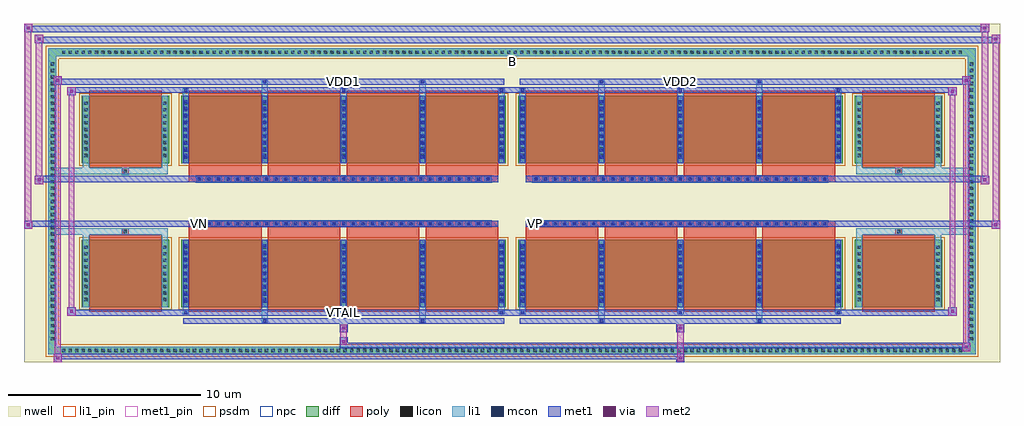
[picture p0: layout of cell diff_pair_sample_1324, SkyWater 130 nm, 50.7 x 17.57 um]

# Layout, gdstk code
import gdstk
lib = gdstk.Library(unit=1e-6, precision=5e-09)
def R(c, l, rs):  # rectangles x0, y0, x1, y1
    for r in rs: c.add(gdstk.rectangle(r[:2], r[2:], *l))
def A(c, l, x, y, w, h, nx, ny, dx, dy):  # array of equal rectangles
    R(c, l, [(x+i*dx, y+j*dy, x+i*dx+w, y+j*dy+h) for i in range(nx) for j in range(ny)])
def P(c, l, *ps):  # polygons
    for p in ps: c.add(gdstk.Polygon(p, *l))
nwell = (64, 20)
diff = (65, 20)
poly = (66, 20)
licon = (66, 44)
li1_pin = (67, 16)
li1 = (67, 20)
mcon = (67, 44)
met1_pin = (68, 16)
met1 = (68, 20)
via = (68, 44)
met2 = (69, 20)
psdm = (94, 20)
npc = (95, 20)

diff_pair_sample_1324 = lib.new_cell('diff_pair_sample_1324')
R(diff_pair_sample_1324, nwell, [(-25.35,-8.35,25.35,9.22), (-22.67,-6.54,-0.01,-0.8), (0.01,-6.54,22.67,-0.8), (-22.67,0.8,-0.01,6.54), (0.01,0.8,22.67,6.54)])
A(diff_pair_sample_1324, diff, -23.495, -7.95, 0.41, 0.41, 138, 2, 0.34, 15.49)
A(diff_pair_sample_1324, diff, -24.08, -7.345, 0.41, 0.41, 1, 43, 0, 0.34)
A(diff_pair_sample_1324, diff, 23.67, -7.345, 0.41, 0.41, 1, 43, 0, 0.34)
R(diff_pair_sample_1324, diff, [(-23.495,-7.95,23.495,-7.54), (-24.08,-7.345,-23.67,7.345), (23.67,-7.345,24.08,7.345), (-22.36,-5.495,-17.81,-1.985), (-17.17,-5.495,-0.32,-1.985), (0.32,-5.495,17.17,-1.985), (17.81,-5.495,22.36,-1.985), (-22.36,1.985,-17.81,5.495), (-17.17,1.985,-0.32,5.495), (0.32,1.985,17.17,5.495), (17.81,1.985,22.36,5.495), (-23.495,7.54,23.495,7.95)])
P(diff_pair_sample_1324, diff, [(24.08,7.95),(-24.08,7.95),(-24.08,-7.54),(-23.67,-7.54),(-23.67,7.54),(23.67,7.54),(23.67,-7.54),(-23.67,-7.54),(-24.08,-7.54),(-24.08,-7.95),(24.08,-7.95)])
A(diff_pair_sample_1324, poly, -16.78, -5.745, 3.77, 4.01, 4, 2, 4.1, 7.48)
A(diff_pair_sample_1324, poly, 0.71, -5.745, 3.77, 4.01, 4, 2, 4.1, 7.48)
A(diff_pair_sample_1324, poly, -16.78, -1.735, 3.77, 0.405, 4, 2, 4.1, 3.065)
A(diff_pair_sample_1324, poly, 0.71, -1.735, 3.77, 0.405, 4, 2, 4.1, 3.065)
A(diff_pair_sample_1324, poly, -16.41, -1.33, 0.33, 0.33, 31, 2, 0.5, 2.33)
A(diff_pair_sample_1324, poly, 1.08, -1.33, 0.33, 0.33, 31, 2, 0.5, 2.33)
R(diff_pair_sample_1324, poly, [(-21.97,-5.745,-18.2,-1.735), (18.2,-5.745,21.97,-1.735), (-20.25,-1.735,-19.92,-1.405), (-20.25,-1.735,-19.92,-1.405), (19.92,-1.735,20.25,-1.405), (19.92,-1.735,20.25,-1.405), (-16.78,-1.33,-0.71,-1), (0.71,-1.33,16.78,-1), (-16.78,1,-0.71,1.33), (0.71,1,16.78,1.33), (-20.25,1.405,-19.92,1.735), (-20.25,1.405,-19.92,1.735), (19.92,1.405,20.25,1.735), (19.92,1.405,20.25,1.735), (-21.97,1.735,-18.2,5.745), (18.2,1.735,21.97,5.745)])
A(diff_pair_sample_1324, licon, -23.375, -7.83, 0.17, 0.17, 138, 2, 0.34, 15.49)
A(diff_pair_sample_1324, licon, -23.96, -7.225, 0.17, 0.17, 1, 43, 0, 0.34)
A(diff_pair_sample_1324, licon, 23.79, -7.225, 0.17, 0.17, 1, 43, 0, 0.34)
A(diff_pair_sample_1324, licon, -22.22, -5.185, 0.17, 0.17, 1, 9, 0, 0.34)
A(diff_pair_sample_1324, licon, -18.12, -5.185, 0.17, 0.17, 1, 9, 0, 0.34)
A(diff_pair_sample_1324, licon, -17.03, -5.185, 0.17, 0.17, 5, 9, 4.1, 0.34)
A(diff_pair_sample_1324, licon, 0.46, -5.185, 0.17, 0.17, 5, 9, 4.1, 0.34)
A(diff_pair_sample_1324, licon, 17.95, -5.185, 0.17, 0.17, 1, 9, 0, 0.34)
A(diff_pair_sample_1324, licon, 22.05, -5.185, 0.17, 0.17, 1, 9, 0, 0.34)
A(diff_pair_sample_1324, licon, -16.33, -1.25, 0.17, 0.17, 31, 2, 0.5, 2.33)
A(diff_pair_sample_1324, licon, 1.16, -1.25, 0.17, 0.17, 31, 2, 0.5, 2.33)
A(diff_pair_sample_1324, licon, -22.22, 2.295, 0.17, 0.17, 1, 9, 0, 0.34)
A(diff_pair_sample_1324, licon, -18.12, 2.295, 0.17, 0.17, 1, 9, 0, 0.34)
A(diff_pair_sample_1324, licon, -17.03, 2.295, 0.17, 0.17, 5, 9, 4.1, 0.34)
A(diff_pair_sample_1324, licon, 0.46, 2.295, 0.17, 0.17, 5, 9, 4.1, 0.34)
A(diff_pair_sample_1324, licon, 17.95, 2.295, 0.17, 0.17, 1, 9, 0, 0.34)
A(diff_pair_sample_1324, licon, 22.05, 2.295, 0.17, 0.17, 1, 9, 0, 0.34)
R(diff_pair_sample_1324, licon, [(-20.17,-1.655,-20,-1.485), (20,-1.655,20.17,-1.485), (-20.17,1.485,-20,1.655), (20,1.485,20.17,1.655)])
R(diff_pair_sample_1324, li1_pin, [(-0.25,7.04,0.25,7.54)])
A(diff_pair_sample_1324, li1, -23.455, -7.91, 0.33, 0.33, 138, 2, 0.34, 15.49)
A(diff_pair_sample_1324, li1, -24.04, -7.305, 0.33, 0.33, 1, 43, 0, 0.34)
A(diff_pair_sample_1324, li1, 23.71, -7.305, 0.33, 0.33, 1, 43, 0, 0.34)
A(diff_pair_sample_1324, li1, -17.11, -5.87, 0.33, 0.375, 3, 2, 8.2, 11.365)
A(diff_pair_sample_1324, li1, -17.03, -5.87, 0.17, 0.17, 3, 2, 8.2, 11.57)
A(diff_pair_sample_1324, li1, 0.38, -5.87, 0.33, 0.375, 3, 2, 8.2, 11.365)
A(diff_pair_sample_1324, li1, 0.46, -5.87, 0.17, 0.17, 3, 2, 8.2, 11.57)
A(diff_pair_sample_1324, li1, -17.11, -5.495, 0.33, 3.51, 5, 2, 4.1, 7.48)
A(diff_pair_sample_1324, li1, 0.38, -5.495, 0.33, 3.51, 5, 2, 4.1, 7.48)
A(diff_pair_sample_1324, li1, -22.3, -5.265, 0.33, 0.33, 1, 9, 0, 0.34)
A(diff_pair_sample_1324, li1, -18.2, -5.265, 0.33, 0.33, 1, 9, 0, 0.34)
A(diff_pair_sample_1324, li1, -17.11, -5.265, 0.33, 0.33, 5, 9, 4.1, 0.34)
A(diff_pair_sample_1324, li1, -17.03, -5.265, 0.17, 0.17, 5, 9, 4.1, 0.36)
A(diff_pair_sample_1324, li1, -17.03, -5.265, 0.17, 3.05, 5, 2, 4.1, 7.48)
A(diff_pair_sample_1324, li1, 0.38, -5.265, 0.33, 0.33, 5, 9, 4.1, 0.34)
A(diff_pair_sample_1324, li1, 0.46, -5.265, 0.17, 0.17, 5, 9, 4.1, 0.36)
A(diff_pair_sample_1324, li1, 0.46, -5.265, 0.17, 3.05, 5, 2, 4.1, 7.48)
A(diff_pair_sample_1324, li1, 17.87, -5.265, 0.33, 0.33, 1, 9, 0, 0.34)
A(diff_pair_sample_1324, li1, 21.97, -5.265, 0.33, 0.33, 1, 9, 0, 0.34)
A(diff_pair_sample_1324, li1, -16.41, -1.33, 0.33, 0.33, 31, 2, 0.5, 2.33)
A(diff_pair_sample_1324, li1, 1.08, -1.33, 0.33, 0.33, 31, 2, 0.5, 2.33)
A(diff_pair_sample_1324, li1, -22.3, 2.215, 0.33, 0.33, 1, 9, 0, 0.34)
A(diff_pair_sample_1324, li1, -18.2, 2.215, 0.33, 0.33, 1, 9, 0, 0.34)
A(diff_pair_sample_1324, li1, -17.11, 2.215, 0.33, 0.33, 5, 9, 4.1, 0.34)
A(diff_pair_sample_1324, li1, -17.03, 2.215, 0.17, 0.17, 5, 9, 4.1, 0.36)
A(diff_pair_sample_1324, li1, 0.38, 2.215, 0.33, 0.33, 5, 9, 4.1, 0.34)
A(diff_pair_sample_1324, li1, 0.46, 2.215, 0.17, 0.17, 5, 9, 4.1, 0.36)
A(diff_pair_sample_1324, li1, 17.87, 2.215, 0.33, 0.33, 1, 9, 0, 0.34)
A(diff_pair_sample_1324, li1, 21.97, 2.215, 0.33, 0.33, 1, 9, 0, 0.34)
R(diff_pair_sample_1324, li1, [(-24.08,-7.95,-23.67,-7.54), (-24.08,-7.95,-23.67,-7.54), (-23.67,-7.95,23.67,-7.54), (23.67,-7.95,24.08,-7.54), (23.67,-7.95,24.08,-7.54), (-24.08,-7.54,-23.67,7.54), (23.67,-7.54,24.08,7.54), (-13.01,-6.3,-12.68,-5.495), (-12.93,-6.3,-12.76,-6.13), (-4.81,-6.3,-4.48,-5.495), (-4.73,-6.3,-4.56,-6.13), (4.48,-6.3,4.81,-5.495), (4.56,-6.3,4.73,-6.13), (12.68,-6.3,13.01,-5.495), (12.76,-6.3,12.93,-6.13), (-22.3,-5.495,-21.97,-1.985), (-18.2,-5.495,-17.87,-1.985), (17.87,-5.495,18.2,-1.985), (21.97,-5.495,22.3,-1.985), (-22.3,-1.985,-21.97,-1.405), (-18.2,-1.985,-17.87,-1.405), (17.87,-1.985,18.2,-1.405), (21.97,-1.985,22.3,-1.405), (-24.08,-1.735,-20.25,-1.405), (-22.3,-1.735,-20.25,-1.405), (-20.25,-1.735,-19.92,-1.405), (-19.92,-1.735,-17.87,-1.405), (17.87,-1.735,19.92,-1.405), (19.92,-1.735,20.25,-1.405), (19.92,-1.735,24.08,-1.405), (20.25,-1.735,22.3,-1.405), (-24.08,1.405,-20.25,1.735), (-22.3,1.405,-20.25,1.735), (-22.3,1.405,-21.97,1.985), (-20.25,1.405,-19.92,1.735), (-19.92,1.405,-17.87,1.735), (-18.2,1.405,-17.87,1.985), (17.87,1.405,19.92,1.735), (17.87,1.405,18.2,1.985), (19.92,1.405,20.25,1.735), (19.92,1.405,24.08,1.735), (20.25,1.405,22.3,1.735), (21.97,1.405,22.3,1.985), (-22.3,1.985,-21.97,5.495), (-18.2,1.985,-17.87,5.495), (17.87,1.985,18.2,5.495), (21.97,1.985,22.3,5.495), (-13.01,5.495,-12.68,6.3), (-4.81,5.495,-4.48,6.3), (4.48,5.495,4.81,6.3), (12.68,5.495,13.01,6.3), (-12.93,6.13,-12.76,6.3), (-4.73,6.13,-4.56,6.3), (4.56,6.13,4.73,6.3), (12.76,6.13,12.93,6.3), (-24.08,7.54,-23.67,7.95), (-24.08,7.54,-23.67,7.95), (-23.67,7.54,23.67,7.95), (23.67,7.54,24.08,7.95), (23.67,7.54,24.08,7.95)])
A(diff_pair_sample_1324, mcon, -17.03, -5.87, 0.17, 0.17, 3, 2, 8.2, 11.57)
A(diff_pair_sample_1324, mcon, 0.46, -5.87, 0.17, 0.17, 3, 2, 8.2, 11.57)
A(diff_pair_sample_1324, mcon, -17.03, -5.265, 0.17, 0.17, 5, 9, 4.1, 0.36)
A(diff_pair_sample_1324, mcon, 0.46, -5.265, 0.17, 0.17, 5, 9, 4.1, 0.36)
A(diff_pair_sample_1324, mcon, -16.33, -1.25, 0.17, 0.17, 31, 2, 0.5, 2.33)
A(diff_pair_sample_1324, mcon, 1.16, -1.25, 0.17, 0.17, 31, 2, 0.5, 2.33)
A(diff_pair_sample_1324, mcon, -17.03, 2.215, 0.17, 0.17, 5, 9, 4.1, 0.36)
A(diff_pair_sample_1324, mcon, 0.46, 2.215, 0.17, 0.17, 5, 9, 4.1, 0.36)
R(diff_pair_sample_1324, mcon, [(-12.93,-6.3,-12.76,-6.13), (-4.73,-6.3,-4.56,-6.13), (4.56,-6.3,4.73,-6.13), (12.76,-6.3,12.93,-6.13), (-12.93,6.13,-12.76,6.3), (-4.73,6.13,-4.56,6.3), (4.56,6.13,4.73,6.3), (12.76,6.13,12.93,6.3)])
R(diff_pair_sample_1324, met1_pin, [(-8.88,-5.91,-8.61,-5.64), (-16.38,-1.29,-16.11,-1.02), (1.11,-1.29,1.38,-1.02), (-8.88,6.09,-8.61,6.36), (8.61,6.09,8.88,6.36)])
A(diff_pair_sample_1324, met1, -17.09, -5.93, 0.29, 0.29, 3, 2, 8.2, 11.57)
A(diff_pair_sample_1324, met1, 0.4, -5.93, 0.29, 0.29, 3, 2, 8.2, 11.57)
A(diff_pair_sample_1324, met1, -17.09, -5.495, 0.29, 3.51, 5, 2, 4.1, 7.48)
A(diff_pair_sample_1324, met1, 0.4, -5.495, 0.29, 3.51, 5, 2, 4.1, 7.48)
A(diff_pair_sample_1324, met1, -17.09, -5.325, 0.29, 0.29, 5, 9, 4.1, 0.36)
A(diff_pair_sample_1324, met1, 0.4, -5.325, 0.29, 0.29, 5, 9, 4.1, 0.36)
A(diff_pair_sample_1324, met1, -16.39, -1.31, 0.29, 0.29, 31, 2, 0.5, 2.33)
A(diff_pair_sample_1324, met1, 1.1, -1.31, 0.29, 0.29, 31, 2, 0.5, 2.33)
A(diff_pair_sample_1324, met1, -17.09, 2.155, 0.29, 0.29, 5, 9, 4.1, 0.36)
A(diff_pair_sample_1324, met1, 0.4, 2.155, 0.29, 0.29, 5, 9, 4.1, 0.36)
R(diff_pair_sample_1324, met1, [(-23.81,-8.35,-23.38,-7.92), (8.53,-8.35,8.96,-7.92), (-23.81,-8.21,8.96,-7.92), (23.38,-7.78,23.81,-7.35), (-8.96,-7.64,23.81,-7.35), (-8.96,-7.5,-8.53,-7.07), (-8.96,-6.79,-8.53,-6.36), (8.53,-6.79,8.96,-6.36), (-17.09,-6.36,-0.4,-6.07), (-12.99,-6.36,-12.7,-6.07), (-4.79,-6.36,-4.5,-6.07), (0.4,-6.36,17.09,-6.07), (4.5,-6.36,4.79,-6.07), (12.7,-6.36,12.99,-6.07), (-23.1,-5.93,-22.67,-5.5), (-23.1,-5.93,-17.09,-5.64), (-17.09,-5.93,-0.4,-5.64), (-0.4,-5.93,0.4,-5.64), (0.4,-5.93,17.09,-5.64), (17.09,-5.93,23.1,-5.64), (22.67,-5.93,23.1,-5.5), (-25.35,-1.43,-24.92,-1), (24.92,-1.43,25.35,-1), (-25.35,-1.33,-0.71,-1), (-16.78,-1.33,-0.71,-1), (0.71,-1.33,16.78,-1), (0.71,-1.33,25.35,-1), (-24.78,0.9,-24.35,1.33), (24.35,0.9,24.78,1.33), (-24.78,1,-16.78,1.33), (-16.78,1,-0.71,1.33), (0.71,1,16.78,1.33), (16.78,1,24.78,1.33), (-23.1,5.5,-22.67,5.93), (22.67,5.5,23.1,5.93), (-23.1,5.64,-17.09,5.93), (-17.09,5.64,-0.4,5.93), (-0.4,5.64,0.4,5.93), (0.4,5.64,17.09,5.93), (17.09,5.64,23.1,5.93), (-23.81,6.07,-23.38,6.5), (-23.81,6.07,-17.09,6.36), (-17.09,6.07,-0.4,6.36), (-12.99,6.07,-12.7,6.36), (-4.79,6.07,-4.5,6.36), (0.4,6.07,17.09,6.36), (4.5,6.07,4.79,6.36), (12.7,6.07,12.99,6.36), (17.09,6.07,23.81,6.36), (23.38,6.07,23.81,6.5), (-24.78,8.22,-24.35,8.65), (-24.78,8.22,-22.67,8.55), (-22.67,8.22,22.67,8.55), (22.67,8.22,25.35,8.55), (24.92,8.22,25.35,8.65), (-25.35,8.79,-24.92,9.22), (-25.35,8.79,-22.67,9.12), (-22.67,8.79,22.67,9.12), (22.67,8.79,24.78,9.12), (24.35,8.79,24.78,9.22)])
R(diff_pair_sample_1324, via, [(-23.67,-8.21,-23.52,-8.06), (8.67,-8.21,8.82,-8.06), (23.52,-7.64,23.67,-7.49), (-8.82,-7.36,-8.67,-7.21), (-8.82,-6.65,-8.67,-6.5), (8.67,-6.65,8.82,-6.5), (-22.96,-5.79,-22.81,-5.64), (22.81,-5.79,22.96,-5.64), (-25.21,-1.29,-25.06,-1.14), (25.06,-1.29,25.21,-1.14), (-24.64,1.04,-24.49,1.19), (24.49,1.04,24.64,1.19), (-22.96,5.64,-22.81,5.79), (22.81,5.64,22.96,5.79), (-23.67,6.21,-23.52,6.36), (23.52,6.21,23.67,6.36), (-24.64,8.36,-24.49,8.51), (25.06,8.36,25.21,8.51), (-25.21,8.93,-25.06,9.08), (24.49,8.93,24.64,9.08)])
R(diff_pair_sample_1324, met2, [(-23.81,-8.35,-23.38,-7.92), (-23.74,-8.35,-23.45,6.5), (-23.45,-8.35,-23.38,-7.92), (-23.76,-8.3,-23.43,-7.97), (8.58,-8.3,8.91,-7.97), (8.58,-7.97,8.91,-6.74), (23.38,-7.78,23.81,-7.35), (23.45,-7.78,23.74,6.5), (23.74,-7.78,23.81,-7.35), (23.43,-7.73,23.76,-7.4), (-8.91,-7.45,-8.58,-7.12), (-8.91,-7.12,-8.58,-6.74), (-8.91,-6.74,-8.58,-6.41), (8.58,-6.74,8.91,-6.41), (-23.1,-5.93,-22.67,-5.5), (-23.03,-5.93,-22.74,5.93), (-22.74,-5.93,-22.67,-5.5), (22.67,-5.93,23.1,-5.5), (22.74,-5.93,23.03,5.93), (23.03,-5.93,23.1,-5.5), (-23.05,-5.88,-22.72,-5.55), (22.72,-5.88,23.05,-5.55), (-25.35,-1.43,-24.92,-1), (-25.3,-1.43,-24.97,9.22), (-24.97,-1.43,-24.92,-1), (24.92,-1.43,25.35,-1), (24.97,-1.43,25.3,8.65), (25.3,-1.43,25.35,-1), (-25.3,-1.38,-24.97,-1.05), (24.97,-1.38,25.3,-1.05), (-24.78,0.9,-24.35,1.33), (-24.73,0.9,-24.4,8.65), (-24.4,0.9,-24.35,1.33), (24.35,0.9,24.78,1.33), (24.4,0.9,24.73,9.22), (24.73,0.9,24.78,1.33), (-24.73,0.95,-24.4,1.28), (24.4,0.95,24.73,1.28), (-23.1,5.5,-22.67,5.93), (-22.74,5.5,-22.67,5.93), (22.67,5.5,23.1,5.93), (23.03,5.5,23.1,5.93), (-23.05,5.55,-22.72,5.88), (22.72,5.55,23.05,5.88), (-23.81,6.07,-23.38,6.5), (-23.45,6.07,-23.38,6.5), (23.38,6.07,23.81,6.5), (23.74,6.07,23.81,6.5), (-23.76,6.12,-23.43,6.45), (23.43,6.12,23.76,6.45), (-24.78,8.22,-24.35,8.65), (-24.4,8.22,-24.35,8.65), (24.92,8.22,25.35,8.65), (25.3,8.22,25.35,8.65), (-24.73,8.27,-24.4,8.6), (24.97,8.27,25.3,8.6), (-25.35,8.79,-24.92,9.22), (-24.97,8.79,-24.92,9.22), (24.35,8.79,24.78,9.22), (24.73,8.79,24.78,9.22), (-25.3,8.84,-24.97,9.17), (24.4,8.84,24.73,9.17)])
R(diff_pair_sample_1324, psdm, [(-22.49,-5.625,-17.68,-1.855), (-17.3,-5.625,-0.19,-1.855), (0.19,-5.625,17.3,-1.855), (17.68,-5.625,22.49,-1.855), (-22.49,1.855,-17.68,5.625), (-17.3,1.855,-0.19,5.625), (0.19,1.855,17.3,5.625), (17.68,1.855,22.49,5.625)])
P(diff_pair_sample_1324, psdm, [(24.21,8.08),(-24.21,8.08),(-24.21,-7.41),(-23.54,-7.41),(-23.54,7.41),(23.54,7.41),(23.54,-7.41),(-23.54,-7.41),(-24.21,-7.41),(-24.21,-8.08),(24.21,-8.08)])
A(diff_pair_sample_1324, npc, -16.43, -1.35, 0.37, 0.37, 31, 2, 0.5, 2.33)
A(diff_pair_sample_1324, npc, 1.06, -1.35, 0.37, 0.37, 31, 2, 0.5, 2.33)
R(diff_pair_sample_1324, npc, [(-20.27,-1.755,-19.9,-1.385), (19.9,-1.755,20.27,-1.385), (-16.43,-1.35,-15.56,-0.98), (-16.43,-1.35,-15.56,-0.98), (-15.93,-1.35,-15.06,-0.98), (-15.93,-1.35,-15.06,-0.98), (-15.43,-1.35,-14.56,-0.98), (-15.43,-1.35,-14.56,-0.98), (-14.93,-1.35,-14.06,-0.98), (-14.93,-1.35,-14.06,-0.98), (-14.43,-1.35,-13.56,-0.98), (-14.43,-1.35,-13.56,-0.98), (-13.93,-1.35,-13.06,-0.98), (-13.93,-1.35,-13.06,-0.98), (-13.43,-1.35,-12.56,-0.98), (-13.43,-1.35,-12.56,-0.98), (-12.93,-1.35,-12.06,-0.98), (-12.93,-1.35,-12.06,-0.98), (-12.43,-1.35,-11.56,-0.98), (-12.43,-1.35,-11.56,-0.98), (-11.93,-1.35,-11.06,-0.98), (-11.93,-1.35,-11.06,-0.98), (-11.43,-1.35,-10.56,-0.98), (-11.43,-1.35,-10.56,-0.98), (-10.93,-1.35,-10.06,-0.98), (-10.93,-1.35,-10.06,-0.98), (-10.43,-1.35,-9.56,-0.98), (-10.43,-1.35,-9.56,-0.98), (-9.93,-1.35,-9.06,-0.98), (-9.93,-1.35,-9.06,-0.98), (-9.43,-1.35,-8.56,-0.98), (-9.43,-1.35,-8.56,-0.98), (-8.93,-1.35,-8.06,-0.98), (-8.93,-1.35,-8.06,-0.98), (-8.43,-1.35,-7.56,-0.98), (-8.43,-1.35,-7.56,-0.98), (-7.93,-1.35,-7.06,-0.98), (-7.93,-1.35,-7.06,-0.98), (-7.43,-1.35,-6.56,-0.98), (-7.43,-1.35,-6.56,-0.98), (-6.93,-1.35,-6.06,-0.98), (-6.93,-1.35,-6.06,-0.98), (-6.43,-1.35,-5.56,-0.98), (-6.43,-1.35,-5.56,-0.98), (-5.93,-1.35,-5.06,-0.98), (-5.93,-1.35,-5.06,-0.98), (-5.43,-1.35,-4.56,-0.98), (-5.43,-1.35,-4.56,-0.98), (-4.93,-1.35,-4.06,-0.98), (-4.93,-1.35,-4.06,-0.98), (-4.43,-1.35,-3.56,-0.98), (-4.43,-1.35,-3.56,-0.98), (-3.93,-1.35,-3.06,-0.98), (-3.93,-1.35,-3.06,-0.98), (-3.43,-1.35,-2.56,-0.98), (-3.43,-1.35,-2.56,-0.98), (-2.93,-1.35,-2.06,-0.98), (-2.93,-1.35,-2.06,-0.98), (-2.43,-1.35,-1.56,-0.98), (-2.43,-1.35,-1.56,-0.98), (-1.93,-1.35,-1.06,-0.98), (-1.93,-1.35,-1.06,-0.98), (1.06,-1.35,1.93,-0.98), (1.06,-1.35,1.93,-0.98), (1.56,-1.35,2.43,-0.98), (1.56,-1.35,2.43,-0.98), (2.06,-1.35,2.93,-0.98), (2.06,-1.35,2.93,-0.98), (2.56,-1.35,3.43,-0.98), (2.56,-1.35,3.43,-0.98), (3.06,-1.35,3.93,-0.98), (3.06,-1.35,3.93,-0.98), (3.56,-1.35,4.43,-0.98), (3.56,-1.35,4.43,-0.98), (4.06,-1.35,4.93,-0.98), (4.06,-1.35,4.93,-0.98), (4.56,-1.35,5.43,-0.98), (4.56,-1.35,5.43,-0.98), (5.06,-1.35,5.93,-0.98), (5.06,-1.35,5.93,-0.98), (5.56,-1.35,6.43,-0.98), (5.56,-1.35,6.43,-0.98), (6.06,-1.35,6.93,-0.98), (6.06,-1.35,6.93,-0.98), (6.56,-1.35,7.43,-0.98), (6.56,-1.35,7.43,-0.98), (7.06,-1.35,7.93,-0.98), (7.06,-1.35,7.93,-0.98), (7.56,-1.35,8.43,-0.98), (7.56,-1.35,8.43,-0.98), (8.06,-1.35,8.93,-0.98), (8.06,-1.35,8.93,-0.98), (8.56,-1.35,9.43,-0.98), (8.56,-1.35,9.43,-0.98), (9.06,-1.35,9.93,-0.98), (9.06,-1.35,9.93,-0.98), (9.56,-1.35,10.43,-0.98), (9.56,-1.35,10.43,-0.98), (10.06,-1.35,10.93,-0.98), (10.06,-1.35,10.93,-0.98), (10.56,-1.35,11.43,-0.98), (10.56,-1.35,11.43,-0.98), (11.06,-1.35,11.93,-0.98), (11.06,-1.35,11.93,-0.98), (11.56,-1.35,12.43,-0.98), (11.56,-1.35,12.43,-0.98), (12.06,-1.35,12.93,-0.98), (12.06,-1.35,12.93,-0.98), (12.56,-1.35,13.43,-0.98), (12.56,-1.35,13.43,-0.98), (13.06,-1.35,13.93,-0.98), (13.06,-1.35,13.93,-0.98), (13.56,-1.35,14.43,-0.98), (13.56,-1.35,14.43,-0.98), (14.06,-1.35,14.93,-0.98), (14.06,-1.35,14.93,-0.98), (14.56,-1.35,15.43,-0.98), (14.56,-1.35,15.43,-0.98), (15.06,-1.35,15.93,-0.98), (15.06,-1.35,15.93,-0.98), (15.56,-1.35,16.43,-0.98), (15.56,-1.35,16.43,-0.98), (-16.43,0.98,-15.56,1.35), (-16.43,0.98,-15.56,1.35), (-15.93,0.98,-15.06,1.35), (-15.93,0.98,-15.06,1.35), (-15.43,0.98,-14.56,1.35), (-15.43,0.98,-14.56,1.35), (-14.93,0.98,-14.06,1.35), (-14.93,0.98,-14.06,1.35), (-14.43,0.98,-13.56,1.35), (-14.43,0.98,-13.56,1.35), (-13.93,0.98,-13.06,1.35), (-13.93,0.98,-13.06,1.35), (-13.43,0.98,-12.56,1.35), (-13.43,0.98,-12.56,1.35), (-12.93,0.98,-12.06,1.35), (-12.93,0.98,-12.06,1.35), (-12.43,0.98,-11.56,1.35), (-12.43,0.98,-11.56,1.35), (-11.93,0.98,-11.06,1.35), (-11.93,0.98,-11.06,1.35), (-11.43,0.98,-10.56,1.35), (-11.43,0.98,-10.56,1.35), (-10.93,0.98,-10.06,1.35), (-10.93,0.98,-10.06,1.35), (-10.43,0.98,-9.56,1.35), (-10.43,0.98,-9.56,1.35), (-9.93,0.98,-9.06,1.35), (-9.93,0.98,-9.06,1.35), (-9.43,0.98,-8.56,1.35), (-9.43,0.98,-8.56,1.35), (-8.93,0.98,-8.06,1.35), (-8.93,0.98,-8.06,1.35), (-8.43,0.98,-7.56,1.35), (-8.43,0.98,-7.56,1.35), (-7.93,0.98,-7.06,1.35), (-7.93,0.98,-7.06,1.35), (-7.43,0.98,-6.56,1.35), (-7.43,0.98,-6.56,1.35), (-6.93,0.98,-6.06,1.35), (-6.93,0.98,-6.06,1.35), (-6.43,0.98,-5.56,1.35), (-6.43,0.98,-5.56,1.35), (-5.93,0.98,-5.06,1.35), (-5.93,0.98,-5.06,1.35), (-5.43,0.98,-4.56,1.35), (-5.43,0.98,-4.56,1.35), (-4.93,0.98,-4.06,1.35), (-4.93,0.98,-4.06,1.35), (-4.43,0.98,-3.56,1.35), (-4.43,0.98,-3.56,1.35), (-3.93,0.98,-3.06,1.35), (-3.93,0.98,-3.06,1.35), (-3.43,0.98,-2.56,1.35), (-3.43,0.98,-2.56,1.35), (-2.93,0.98,-2.06,1.35), (-2.93,0.98,-2.06,1.35), (-2.43,0.98,-1.56,1.35), (-2.43,0.98,-1.56,1.35), (-1.93,0.98,-1.06,1.35), (-1.93,0.98,-1.06,1.35), (1.06,0.98,1.93,1.35), (1.06,0.98,1.93,1.35), (1.56,0.98,2.43,1.35), (1.56,0.98,2.43,1.35), (2.06,0.98,2.93,1.35), (2.06,0.98,2.93,1.35), (2.56,0.98,3.43,1.35), (2.56,0.98,3.43,1.35), (3.06,0.98,3.93,1.35), (3.06,0.98,3.93,1.35), (3.56,0.98,4.43,1.35), (3.56,0.98,4.43,1.35), (4.06,0.98,4.93,1.35), (4.06,0.98,4.93,1.35), (4.56,0.98,5.43,1.35), (4.56,0.98,5.43,1.35), (5.06,0.98,5.93,1.35), (5.06,0.98,5.93,1.35), (5.56,0.98,6.43,1.35), (5.56,0.98,6.43,1.35), (6.06,0.98,6.93,1.35), (6.06,0.98,6.93,1.35), (6.56,0.98,7.43,1.35), (6.56,0.98,7.43,1.35), (7.06,0.98,7.93,1.35), (7.06,0.98,7.93,1.35), (7.56,0.98,8.43,1.35), (7.56,0.98,8.43,1.35), (8.06,0.98,8.93,1.35), (8.06,0.98,8.93,1.35), (8.56,0.98,9.43,1.35), (8.56,0.98,9.43,1.35), (9.06,0.98,9.93,1.35), (9.06,0.98,9.93,1.35), (9.56,0.98,10.43,1.35), (9.56,0.98,10.43,1.35), (10.06,0.98,10.93,1.35), (10.06,0.98,10.93,1.35), (10.56,0.98,11.43,1.35), (10.56,0.98,11.43,1.35), (11.06,0.98,11.93,1.35), (11.06,0.98,11.93,1.35), (11.56,0.98,12.43,1.35), (11.56,0.98,12.43,1.35), (12.06,0.98,12.93,1.35), (12.06,0.98,12.93,1.35), (12.56,0.98,13.43,1.35), (12.56,0.98,13.43,1.35), (13.06,0.98,13.93,1.35), (13.06,0.98,13.93,1.35), (13.56,0.98,14.43,1.35), (13.56,0.98,14.43,1.35), (14.06,0.98,14.93,1.35), (14.06,0.98,14.93,1.35), (14.56,0.98,15.43,1.35), (14.56,0.98,15.43,1.35), (15.06,0.98,15.93,1.35), (15.06,0.98,15.93,1.35), (15.56,0.98,16.43,1.35), (15.56,0.98,16.43,1.35), (-20.27,1.385,-19.9,1.755), (19.9,1.385,20.27,1.755)])
diff_pair_sample_1324.add(gdstk.Label('VTAIL', (-8.745,-5.775), layer=68, texttype=5))
diff_pair_sample_1324.add(gdstk.Label('VN', (-16.245,-1.155), layer=68, texttype=5))
diff_pair_sample_1324.add(gdstk.Label('VP', (1.245,-1.155), layer=68, texttype=5))
diff_pair_sample_1324.add(gdstk.Label('B', (0,7.29), layer=67, texttype=5))
diff_pair_sample_1324.add(gdstk.Label('VDD2', (8.745,6.225), layer=68, texttype=5))
diff_pair_sample_1324.add(gdstk.Label('VDD1', (-8.745,6.225), layer=68, texttype=5))

lib.write_gds('diff_pair_sample_1324.gds')
